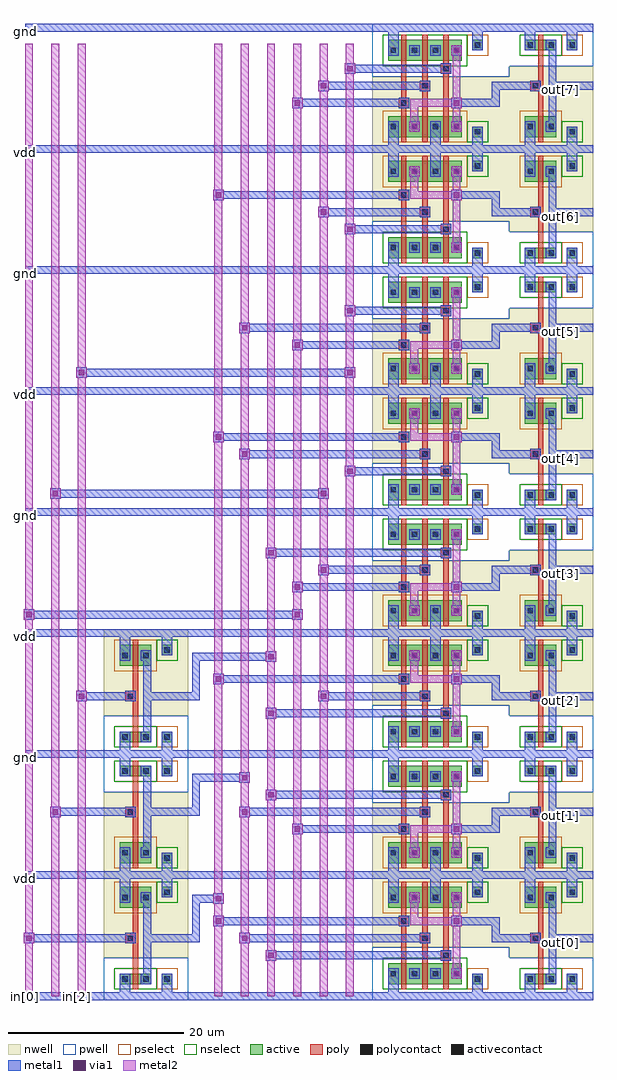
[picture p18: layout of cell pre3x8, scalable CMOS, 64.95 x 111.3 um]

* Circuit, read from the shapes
.subckt pre3x8 gnd in[0] in[1] in[2] out[0] out[1] out[2] out[3] out[4] out[5] out[6] out[7] vdd
M1 pnand3_3_11/A in[0] gnd gnd nfet w=1.2u l=0.6u
M2 pnand3_3_11/B in[1] gnd gnd nfet w=1.2u l=0.6u
M3 pnand3_3_11/C in[2] gnd gnd nfet w=1.2u l=0.6u
M4 pnand3_3_11/nmos_m1_w2_4_a_p_3/D pnand3_3_11/A gnd gnd nfet w=2.4u l=0.6u
M5 pnand3_3_12/nmos_m1_w2_4_a_p_3/D in[0] gnd gnd nfet w=2.4u l=0.6u
M6 pnand3_3_13/nmos_m1_w2_4_a_p_3/D pnand3_3_11/A gnd gnd nfet w=2.4u l=0.6u
M7 pnand3_3_14/nmos_m1_w2_4_a_p_3/D in[0] gnd gnd nfet w=2.4u l=0.6u
M8 pnand3_3_15/nmos_m1_w2_4_a_p_3/D pnand3_3_11/A gnd gnd nfet w=2.4u l=0.6u
M9 pnand3_3_16/nmos_m1_w2_4_a_p_3/D in[0] gnd gnd nfet w=2.4u l=0.6u
M10 pnand3_3_17/nmos_m1_w2_4_a_p_3/D pnand3_3_11/A gnd gnd nfet w=2.4u l=0.6u
M11 pnand3_3_18/nmos_m1_w2_4_a_p_3/D in[0] gnd gnd nfet w=2.4u l=0.6u
M12 pnand3_3_11/nmos_m1_w2_4_a_p_4/D pnand3_3_11/B pnand3_3_11/nmos_m1_w2_4_a_p_3/D gnd nfet w=2.4u l=0.6u
M13 pnand3_3_12/nmos_m1_w2_4_a_p_4/D pnand3_3_11/B pnand3_3_12/nmos_m1_w2_4_a_p_3/D gnd nfet w=2.4u l=0.6u
M14 pnand3_3_13/nmos_m1_w2_4_a_p_4/D in[1] pnand3_3_13/nmos_m1_w2_4_a_p_3/D gnd nfet w=2.4u l=0.6u
M15 pnand3_3_14/nmos_m1_w2_4_a_p_4/D in[1] pnand3_3_14/nmos_m1_w2_4_a_p_3/D gnd nfet w=2.4u l=0.6u
M16 pnand3_3_15/nmos_m1_w2_4_a_p_4/D pnand3_3_11/B pnand3_3_15/nmos_m1_w2_4_a_p_3/D gnd nfet w=2.4u l=0.6u
M17 pnand3_3_16/nmos_m1_w2_4_a_p_4/D pnand3_3_11/B pnand3_3_16/nmos_m1_w2_4_a_p_3/D gnd nfet w=2.4u l=0.6u
M18 pnand3_3_17/nmos_m1_w2_4_a_p_4/D in[1] pnand3_3_17/nmos_m1_w2_4_a_p_3/D gnd nfet w=2.4u l=0.6u
M19 pnand3_3_18/nmos_m1_w2_4_a_p_4/D in[1] pnand3_3_18/nmos_m1_w2_4_a_p_3/D gnd nfet w=2.4u l=0.6u
M20 pinv_10_3/A pnand3_3_11/C pnand3_3_11/nmos_m1_w2_4_a_p_4/D gnd nfet w=2.4u l=0.6u
M21 pinv_10_4/A pnand3_3_11/C pnand3_3_12/nmos_m1_w2_4_a_p_4/D gnd nfet w=2.4u l=0.6u
M22 pinv_10_5/A pnand3_3_11/C pnand3_3_13/nmos_m1_w2_4_a_p_4/D gnd nfet w=2.4u l=0.6u
M23 pinv_10_6/A pnand3_3_11/C pnand3_3_14/nmos_m1_w2_4_a_p_4/D gnd nfet w=2.4u l=0.6u
M24 pinv_10_62/A in[2] pnand3_3_15/nmos_m1_w2_4_a_p_4/D gnd nfet w=2.4u l=0.6u
M25 pinv_10_63/A in[2] pnand3_3_16/nmos_m1_w2_4_a_p_4/D gnd nfet w=2.4u l=0.6u
M26 pinv_10_64/A in[2] pnand3_3_17/nmos_m1_w2_4_a_p_4/D gnd nfet w=2.4u l=0.6u
M27 pinv_10_10/A in[2] pnand3_3_18/nmos_m1_w2_4_a_p_4/D gnd nfet w=2.4u l=0.6u
M28 out[0] pinv_10_3/A gnd gnd nfet w=1.2u l=0.6u
M29 out[1] pinv_10_4/A gnd gnd nfet w=1.2u l=0.6u
M30 out[2] pinv_10_5/A gnd gnd nfet w=1.2u l=0.6u
M31 out[3] pinv_10_6/A gnd gnd nfet w=1.2u l=0.6u
M32 out[4] pinv_10_62/A gnd gnd nfet w=1.2u l=0.6u
M33 out[5] pinv_10_63/A gnd gnd nfet w=1.2u l=0.6u
M34 out[6] pinv_10_64/A gnd gnd nfet w=1.2u l=0.6u
M35 out[7] pinv_10_10/A gnd gnd nfet w=1.2u l=0.6u
M36 pnand3_3_11/A in[0] vdd vdd pfet w=2.4u l=0.6u
M37 pnand3_3_11/B in[1] vdd vdd pfet w=2.4u l=0.6u
M38 pnand3_3_11/C in[2] vdd vdd pfet w=2.4u l=0.6u
M39 pinv_10_3/A pnand3_3_11/A vdd vdd pfet w=2.4u l=0.6u
M40 pinv_10_4/A in[0] vdd vdd pfet w=2.4u l=0.6u
M41 pinv_10_5/A pnand3_3_11/A vdd vdd pfet w=2.4u l=0.6u
M42 pinv_10_6/A in[0] vdd vdd pfet w=2.4u l=0.6u
M43 pinv_10_62/A pnand3_3_11/A vdd vdd pfet w=2.4u l=0.6u
M44 pinv_10_63/A in[0] vdd vdd pfet w=2.4u l=0.6u
M45 pinv_10_64/A pnand3_3_11/A vdd vdd pfet w=2.4u l=0.6u
M46 pinv_10_10/A in[0] vdd vdd pfet w=2.4u l=0.6u
M47 vdd pnand3_3_11/B pinv_10_3/A vdd pfet w=2.4u l=0.6u
M48 vdd pnand3_3_11/B pinv_10_4/A vdd pfet w=2.4u l=0.6u
M49 vdd in[1] pinv_10_5/A vdd pfet w=2.4u l=0.6u
M50 vdd in[1] pinv_10_6/A vdd pfet w=2.4u l=0.6u
M51 vdd pnand3_3_11/B pinv_10_62/A vdd pfet w=2.4u l=0.6u
M52 vdd pnand3_3_11/B pinv_10_63/A vdd pfet w=2.4u l=0.6u
M53 vdd in[1] pinv_10_64/A vdd pfet w=2.4u l=0.6u
M54 vdd in[1] pinv_10_10/A vdd pfet w=2.4u l=0.6u
M55 pinv_10_3/A pnand3_3_11/C vdd vdd pfet w=2.4u l=0.6u
M56 pinv_10_4/A pnand3_3_11/C vdd vdd pfet w=2.4u l=0.6u
M57 pinv_10_5/A pnand3_3_11/C vdd vdd pfet w=2.4u l=0.6u
M58 pinv_10_6/A pnand3_3_11/C vdd vdd pfet w=2.4u l=0.6u
M59 pinv_10_62/A in[2] vdd vdd pfet w=2.4u l=0.6u
M60 pinv_10_63/A in[2] vdd vdd pfet w=2.4u l=0.6u
M61 pinv_10_64/A in[2] vdd vdd pfet w=2.4u l=0.6u
M62 pinv_10_10/A in[2] vdd vdd pfet w=2.4u l=0.6u
M63 out[0] pinv_10_3/A vdd vdd pfet w=2.4u l=0.6u
M64 out[1] pinv_10_4/A vdd vdd pfet w=2.4u l=0.6u
M65 out[2] pinv_10_5/A vdd vdd pfet w=2.4u l=0.6u
M66 out[3] pinv_10_6/A vdd vdd pfet w=2.4u l=0.6u
M67 out[4] pinv_10_62/A vdd vdd pfet w=2.4u l=0.6u
M68 out[5] pinv_10_63/A vdd vdd pfet w=2.4u l=0.6u
M69 out[6] pinv_10_64/A vdd vdd pfet w=2.4u l=0.6u
M70 out[7] pinv_10_10/A vdd vdd pfet w=2.4u l=0.6u
.ends

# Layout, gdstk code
from math import pi, radians
import gdstk
lib = gdstk.Library(unit=1e-6, precision=1e-09)
def R(c, l, rs):  # rectangles x0, y0, x1, y1
    for r in rs: c.add(gdstk.rectangle(r[:2], r[2:], *l))
def A(c, l, x, y, w, h, nx, ny, dx, dy):  # array of equal rectangles
    R(c, l, [(x+i*dx, y+j*dy, x+i*dx+w, y+j*dy+h) for i in range(nx) for j in range(ny)])
pwell = (41, 0)
nwell = (42, 0)
active = (43, 0)
pselect = (44, 0)
nselect = (45, 0)
poly = (46, 0)
polycontact = (47, 0)
activecontact = (48, 0)
metal1 = (49, 0)
via1 = (50, 0)
metal2 = (51, 0)

active_contact_metal1_1x = lib.new_cell('active_contact_metal1_1x1_pn')
R(active_contact_metal1_1x, nwell, [(-1.8,-1.8,3,3), (-1.8,-1.8,3,3)])
R(active_contact_metal1_1x, active, [(0,0,1.2,1.2), (0,0,1.2,1.2)])
R(active_contact_metal1_1x, pselect, [(-0.6,-0.6,1.8,1.8), (-0.6,-0.6,1.8,1.8)])
R(active_contact_metal1_1x, activecontact, [(0.3,0.3,0.9,0.9), (0.3,0.3,0.9,0.9)])
R(active_contact_metal1_1x, metal1, [(0,0,1.2,1.2), (0,0,1.2,1.2)])

pmos_m1_w2_4_a_p = lib.new_cell('pmos_m1_w2_4_a_p')
R(pmos_m1_w2_4_a_p, nwell, [(-1.8,-1.8,5.4,4.2), (-1.8,-1.8,5.4,4.2)])
R(pmos_m1_w2_4_a_p, active, [(0,0,3.6,2.4), (0,0,3.6,2.4)])
R(pmos_m1_w2_4_a_p, pselect, [(-0.6,-0.6,4.2,3), (-0.6,-0.6,4.2,3)])
R(pmos_m1_w2_4_a_p, poly, [(1.5,-0.6,2.1,3), (1.5,-0.6,2.1,3), (1.5,-0.6,2.1,3), (1.5,-0.6,2.1,3)])
R(pmos_m1_w2_4_a_p, metal1, [(0,0.6,1.2,1.8), (0,0.6,1.2,1.8), (2.4,0.6,3.6,1.8), (2.4,0.6,3.6,1.8)])
pmos_m1_w2_4_a_p.add(gdstk.Reference(active_contact_metal1_1x, (0,0.6)))
pmos_m1_w2_4_a_p.add(gdstk.Reference(active_contact_metal1_1x, (2.4,0.6)))
pmos_m1_w2_4_a_p.add(gdstk.Reference(active_contact_metal1_1x, (0,0.6)))
pmos_m1_w2_4_a_p.add(gdstk.Reference(active_contact_metal1_1x, (2.4,0.6)))
pmos_m1_w2_4_a_p.add(gdstk.Label('S', (0,0.6), layer=49, texttype=0))
pmos_m1_w2_4_a_p.add(gdstk.Label('D', (2.4,0.6), layer=49, texttype=0))
pmos_m1_w2_4_a_p.add(gdstk.Label('G', (1.5,-0.6), layer=46, texttype=0))
pmos_m1_w2_4_a_p.add(gdstk.Label('S', (0,0.6), layer=49, texttype=0))
pmos_m1_w2_4_a_p.add(gdstk.Label('D', (2.4,0.6), layer=49, texttype=0))
pmos_m1_w2_4_a_p.add(gdstk.Label('G', (1.5,-0.6), layer=46, texttype=0))

c_active_contact_metal1_1x = lib.new_cell('active_contact_metal1_1x1_np')
R(c_active_contact_metal1_1x, pwell, [(-1.8,-1.8,3,3)])
R(c_active_contact_metal1_1x, active, [(0,0,1.2,1.2)])
R(c_active_contact_metal1_1x, nselect, [(-0.6,-0.6,1.8,1.8)])
R(c_active_contact_metal1_1x, activecontact, [(0.3,0.3,0.9,0.9)])
R(c_active_contact_metal1_1x, metal1, [(0,0,1.2,1.2)])

nmos_m1_w1_2_a_p = lib.new_cell('nmos_m1_w1_2_a_p')
R(nmos_m1_w1_2_a_p, pwell, [(-1.8,-1.8,5.4,3), (-1.8,-1.8,5.4,3)])
R(nmos_m1_w1_2_a_p, active, [(0,0,3.6,1.2), (0,0,3.6,1.2)])
R(nmos_m1_w1_2_a_p, nselect, [(-0.6,-0.6,4.2,1.8), (-0.6,-0.6,4.2,1.8)])
R(nmos_m1_w1_2_a_p, poly, [(1.5,-0.6,2.1,1.8), (1.5,-0.6,2.1,1.8), (1.5,-0.6,2.1,1.8), (1.5,-0.6,2.1,1.8)])
R(nmos_m1_w1_2_a_p, metal1, [(0,0,1.2,1.2), (0,0,1.2,1.2), (2.4,0,3.6,1.2), (2.4,0,3.6,1.2)])
nmos_m1_w1_2_a_p.add(gdstk.Reference(c_active_contact_metal1_1x, (0,0)))
nmos_m1_w1_2_a_p.add(gdstk.Reference(c_active_contact_metal1_1x, (2.4,0)))
nmos_m1_w1_2_a_p.add(gdstk.Reference(c_active_contact_metal1_1x, (0,0)))
nmos_m1_w1_2_a_p.add(gdstk.Reference(c_active_contact_metal1_1x, (2.4,0)))
nmos_m1_w1_2_a_p.add(gdstk.Label('S', (0,0), layer=49, texttype=0))
nmos_m1_w1_2_a_p.add(gdstk.Label('D', (2.4,0), layer=49, texttype=0))
nmos_m1_w1_2_a_p.add(gdstk.Label('G', (1.5,-0.6), layer=46, texttype=0))
nmos_m1_w1_2_a_p.add(gdstk.Label('S', (0,0), layer=49, texttype=0))
nmos_m1_w1_2_a_p.add(gdstk.Label('D', (2.4,0), layer=49, texttype=0))
nmos_m1_w1_2_a_p.add(gdstk.Label('G', (1.5,-0.6), layer=46, texttype=0))

c_active_contact_metal1_1x_ = lib.new_cell('active_contact_metal1_1x1_nn')
R(c_active_contact_metal1_1x_, nwell, [(-1.8,-1.8,3,3), (-1.8,-1.8,3,3)])
R(c_active_contact_metal1_1x_, active, [(0,0,1.2,1.2), (0,0,1.2,1.2)])
R(c_active_contact_metal1_1x_, nselect, [(-0.6,-0.6,1.8,1.8), (-0.6,-0.6,1.8,1.8)])
R(c_active_contact_metal1_1x_, activecontact, [(0.3,0.3,0.9,0.9), (0.3,0.3,0.9,0.9)])
R(c_active_contact_metal1_1x_, metal1, [(0,0,1.2,1.2), (0,0,1.2,1.2)])

c_active_contact_metal1_1x__ = lib.new_cell('active_contact_metal1_1x1_pp')
R(c_active_contact_metal1_1x__, pwell, [(-1.8,-1.8,3,3)])
R(c_active_contact_metal1_1x__, active, [(0,0,1.2,1.2)])
R(c_active_contact_metal1_1x__, pselect, [(-0.6,-0.6,1.8,1.8)])
R(c_active_contact_metal1_1x__, activecontact, [(0.3,0.3,0.9,0.9)])
R(c_active_contact_metal1_1x__, metal1, [(0,0,1.2,1.2)])

poly_contact_metal1_1x1 = lib.new_cell('poly_contact_metal1_1x1')
R(poly_contact_metal1_1x1, poly, [(0,0,1.2,1.2), (0,0,1.2,1.2)])
R(poly_contact_metal1_1x1, polycontact, [(0.3,0.3,0.9,0.9), (0.3,0.3,0.9,0.9)])
R(poly_contact_metal1_1x1, metal1, [(0,0,1.2,1.2), (0,0,1.2,1.2)])

pinv_10 = lib.new_cell('pinv_10')
R(pinv_10, pwell, [(0,-0.45,9.6,4.35)])
R(pinv_10, nwell, [(0,4.35,9.6,14.25)])
R(pinv_10, poly, [(3.3,0.75,3.9,9.45), (3,6,3.3,7.2)])
R(pinv_10, metal1, [(0,-0.45,9.6,0.45), (1.8,-0.45,3,1.35), (6.6,0,7.8,1.95), (4.5,1.35,5.4,10.65), (2.4,6,3.6,7.2), (4.95,6.15,5.85,7.05), (1.8,10.65,3,14.25), (6.6,11.85,7.8,13.8), (0,13.35,9.6,14.25)])
pinv_10.add(gdstk.Reference(pmos_m1_w2_4_a_p, (1.8,10.05)))
pinv_10.add(gdstk.Reference(nmos_m1_w1_2_a_p, (1.8,1.35)))
pinv_10.add(gdstk.Reference(c_active_contact_metal1_1x_, (6.6,11.25)))
pinv_10.add(gdstk.Reference(c_active_contact_metal1_1x__, (6.6,1.35)))
pinv_10.add(gdstk.Reference(poly_contact_metal1_1x1, (2.4,6)))
pinv_10.add(gdstk.Label('A', (2.4,6), layer=49, texttype=0))
pinv_10.add(gdstk.Label('Z', (4.95,6.15), layer=49, texttype=0))
pinv_10.add(gdstk.Label('vdd', (0,13.35), layer=49, texttype=0))
pinv_10.add(gdstk.Label('gnd', (0,-0.45), layer=49, texttype=0))

nmos_m1_w2_4_a_p = lib.new_cell('nmos_m1_w2_4_a_p')
R(nmos_m1_w2_4_a_p, pwell, [(-1.8,-1.8,5.4,4.2), (-1.8,-1.8,5.4,4.2)])
R(nmos_m1_w2_4_a_p, active, [(0,0,3.6,2.4), (0,0,3.6,2.4)])
R(nmos_m1_w2_4_a_p, nselect, [(-0.6,-0.6,4.2,3), (-0.6,-0.6,4.2,3)])
R(nmos_m1_w2_4_a_p, poly, [(1.5,-0.6,2.1,3), (1.5,-0.6,2.1,3), (1.5,-0.6,2.1,3), (1.5,-0.6,2.1,3)])
R(nmos_m1_w2_4_a_p, metal1, [(0,0.6,1.2,1.8), (0,0.6,1.2,1.8), (2.4,0.6,3.6,1.8), (2.4,0.6,3.6,1.8)])
nmos_m1_w2_4_a_p.add(gdstk.Reference(c_active_contact_metal1_1x, (0,0.6)))
nmos_m1_w2_4_a_p.add(gdstk.Reference(c_active_contact_metal1_1x, (2.4,0.6)))
nmos_m1_w2_4_a_p.add(gdstk.Reference(c_active_contact_metal1_1x, (0,0.6)))
nmos_m1_w2_4_a_p.add(gdstk.Reference(c_active_contact_metal1_1x, (2.4,0.6)))
nmos_m1_w2_4_a_p.add(gdstk.Label('S', (0,0.6), layer=49, texttype=0))
nmos_m1_w2_4_a_p.add(gdstk.Label('D', (2.4,0.6), layer=49, texttype=0))
nmos_m1_w2_4_a_p.add(gdstk.Label('G', (1.5,-0.6), layer=46, texttype=0))
nmos_m1_w2_4_a_p.add(gdstk.Label('S', (0,0.6), layer=49, texttype=0))
nmos_m1_w2_4_a_p.add(gdstk.Label('D', (2.4,0.6), layer=49, texttype=0))
nmos_m1_w2_4_a_p.add(gdstk.Label('G', (1.5,-0.6), layer=46, texttype=0))

metal1_via1_metal2_1x1 = lib.new_cell('metal1_via1_metal2_1x1')
R(metal1_via1_metal2_1x1, metal1, [(0,0,1.2,1.2), (0,0,1.2,1.2)])
R(metal1_via1_metal2_1x1, via1, [(0.3,0.3,0.9,0.9), (0.3,0.3,0.9,0.9)])
R(metal1_via1_metal2_1x1, metal2, [(0,0,1.2,1.2), (0,0,1.2,1.2)])

pnand3_3 = lib.new_cell('pnand3_3')
R(pnand3_3, pwell, [(0,-0.45,15.6,5.55)])
R(pnand3_3, nwell, [(0,5.55,15.6,14.25)])
A(pnand3_3, poly, 3.3, 0.75, 0.6, 8.7, 3, 1, 2.4, 0)
R(pnand3_3, poly, [(8.1,4.05,8.4,5.25), (5.7,6,6,7.2), (3.3,7.95,3.6,9.15)])
R(pnand3_3, metal1, [(0,-0.45,15.6,0.45), (1.8,-0.45,3,1.95), (11.4,0,12.6,1.95), (7.8,4.05,9,5.25), (5.4,6,6.6,7.2), (3,7.95,4.2,9.15), (9,7.95,10.2,9.15), (1.8,10.65,3,14.25), (6.6,10.65,7.8,14.25), (11.4,11.85,12.6,13.8), (0,13.35,15.6,14.25)])
R(pnand3_3, metal2, [(9.15,3.15,10.05,10.65), (9.15,3.15,10.05,8.55), (4.35,8.1,5.25,9), (4.8,8.1,9.6,9), (9.15,8.1,10.05,9), (4.35,8.55,5.25,10.65)])
pnand3_3.add(gdstk.Reference(pmos_m1_w2_4_a_p, (1.8,10.05)))
pnand3_3.add(gdstk.Reference(pmos_m1_w2_4_a_p, (4.2,10.05)))
pnand3_3.add(gdstk.Reference(pmos_m1_w2_4_a_p, (6.6,10.05)))
pnand3_3.add(gdstk.Reference(nmos_m1_w2_4_a_p, (1.8,1.35)))
pnand3_3.add(gdstk.Reference(nmos_m1_w2_4_a_p, (4.2,1.35)))
pnand3_3.add(gdstk.Reference(nmos_m1_w2_4_a_p, (6.6,1.35)))
pnand3_3.add(gdstk.Reference(c_active_contact_metal1_1x_, (11.4,11.25)))
pnand3_3.add(gdstk.Reference(c_active_contact_metal1_1x__, (11.4,1.35)))
pnand3_3.add(gdstk.Reference(poly_contact_metal1_1x1, (9,4.05), rotation=pi/2))
pnand3_3.add(gdstk.Reference(poly_contact_metal1_1x1, (6.6,6), rotation=pi/2))
pnand3_3.add(gdstk.Reference(poly_contact_metal1_1x1, (4.2,7.95), rotation=pi/2))
pnand3_3.add(gdstk.Reference(metal1_via1_metal2_1x1, (4.2,10.65)))
pnand3_3.add(gdstk.Reference(metal1_via1_metal2_1x1, (9,10.65)))
pnand3_3.add(gdstk.Reference(metal1_via1_metal2_1x1, (9,1.95)))
pnand3_3.add(gdstk.Reference(metal1_via1_metal2_1x1, (9,7.95)))
pnand3_3.add(gdstk.Label('A', (3,7.95), layer=49, texttype=0))
pnand3_3.add(gdstk.Label('C', (7.8,4.05), layer=49, texttype=0))
pnand3_3.add(gdstk.Label('B', (5.4,6), layer=49, texttype=0))
pnand3_3.add(gdstk.Label('vdd', (0,13.35), layer=49, texttype=0))
pnand3_3.add(gdstk.Label('gnd', (0,-0.45), layer=49, texttype=0))
pnand3_3.add(gdstk.Label('Z', (9,7.95), layer=49, texttype=0))

pre3x8 = lib.new_cell('pre3x8')
R(pre3x8, metal1, [(0,-0.45,64.8,0.45), (0,-0.45,64.8,0.45), (28.05,4.2,47.4,5.1), (28.05,4.2,47.4,5.1), (0.45,6.15,11.4,7.05), (0.45,6.15,11.4,7.05), (14.85,6.15,19.5,7.05), (14.85,6.15,19.5,7.05), (19.05,6.15,19.95,7.05), (19.05,6.15,19.95,7.05), (25.05,6.15,45,7.05), (25.05,6.15,45,7.05), (53.25,6.15,54.15,7.05), (53.25,6.15,54.15,7.05), (53.7,6.15,57.6,7.05), (53.7,6.15,57.6,7.05), (61.05,6.15,64.8,7.05), (61.05,6.15,64.8,7.05), (19.05,6.6,19.95,11.1), (19.05,6.6,19.95,11.1), (53.25,6.6,54.15,8.55), (53.25,6.6,54.15,8.55), (22.05,8.1,42.6,9), (22.05,8.1,42.6,9), (49.8,8.1,53.7,9), (49.8,8.1,53.7,9), (53.25,8.1,54.15,9), (53.25,8.1,54.15,9), (19.05,10.65,19.95,11.55), (19.05,10.65,19.95,11.55), (19.5,10.65,22.05,11.55), (19.5,10.65,22.05,11.55), (0,13.35,64.8,14.25), (0,13.35,64.8,14.25), (31.05,18.6,42.6,19.5), (31.05,18.6,42.6,19.5), (49.8,18.6,53.7,19.5), (49.8,18.6,53.7,19.5), (53.25,18.6,54.15,19.5), (53.25,18.6,54.15,19.5), (53.25,19.05,54.15,21), (53.25,19.05,54.15,21), (3.45,20.55,11.4,21.45), (3.45,20.55,11.4,21.45), (14.85,20.55,19.5,21.45), (14.85,20.55,19.5,21.45), (19.05,20.55,19.95,21.45), (19.05,20.55,19.95,21.45), (25.05,20.55,45,21.45), (25.05,20.55,45,21.45), (53.25,20.55,54.15,21.45), (53.25,20.55,54.15,21.45), (53.7,20.55,57.6,21.45), (53.7,20.55,57.6,21.45), (61.05,20.55,64.8,21.45), (61.05,20.55,64.8,21.45), (19.05,21,19.95,24.9), (19.05,21,19.95,24.9), (28.05,22.5,47.4,23.4), (28.05,22.5,47.4,23.4), (19.05,24.45,19.95,25.35), (19.05,24.45,19.95,25.35), (19.5,24.45,25.05,25.35), (19.5,24.45,25.05,25.35), (0,27.15,64.8,28.05), (0,27.15,64.8,28.05), (28.05,31.8,47.4,32.7), (28.05,31.8,47.4,32.7), (6.45,33.75,11.4,34.65), (6.45,33.75,11.4,34.65), (14.85,33.75,19.5,34.65), (14.85,33.75,19.5,34.65), (19.05,33.75,19.95,34.65), (19.05,33.75,19.95,34.65), (34.05,33.75,45,34.65), (34.05,33.75,45,34.65), (53.25,33.75,54.15,34.65), (53.25,33.75,54.15,34.65), (53.7,33.75,57.6,34.65), (53.7,33.75,57.6,34.65), (61.05,33.75,64.8,34.65), (61.05,33.75,64.8,34.65), (19.05,34.2,19.95,38.7), (19.05,34.2,19.95,38.7), (53.25,34.2,54.15,36.15), (53.25,34.2,54.15,36.15), (22.05,35.7,42.6,36.6), (22.05,35.7,42.6,36.6), (49.8,35.7,53.7,36.6), (49.8,35.7,53.7,36.6), (53.25,35.7,54.15,36.6), (53.25,35.7,54.15,36.6), (19.05,38.25,19.95,39.15), (19.05,38.25,19.95,39.15), (19.5,38.25,28.05,39.15), (19.5,38.25,28.05,39.15), (0,40.95,64.8,41.85), (0,40.95,64.8,41.85), (0.45,43.05,31.05,43.95), (0.45,43.05,31.05,43.95), (31.05,46.2,42.6,47.1), (31.05,46.2,42.6,47.1), (49.8,46.2,53.7,47.1), (49.8,46.2,53.7,47.1), (53.25,46.2,54.15,47.1), (53.25,46.2,54.15,47.1), (53.25,46.65,54.15,48.6), (53.25,46.65,54.15,48.6), (34.05,48.15,45,49.05), (34.05,48.15,45,49.05), (53.25,48.15,54.15,49.05), (53.25,48.15,54.15,49.05), (53.7,48.15,57.6,49.05), (53.7,48.15,57.6,49.05), (61.05,48.15,64.8,49.05), (61.05,48.15,64.8,49.05), (28.05,50.1,47.4,51), (28.05,50.1,47.4,51), (0,54.75,64.8,55.65), (0,54.75,64.8,55.65), (3.45,56.85,34.05,57.75), (3.45,56.85,34.05,57.75), (37.05,59.4,47.4,60.3), (37.05,59.4,47.4,60.3), (25.05,61.35,45,62.25), (25.05,61.35,45,62.25), (53.25,61.35,54.15,62.25), (53.25,61.35,54.15,62.25), (53.7,61.35,57.6,62.25), (53.7,61.35,57.6,62.25), (61.05,61.35,64.8,62.25), (61.05,61.35,64.8,62.25), (53.25,61.8,54.15,63.75), (53.25,61.8,54.15,63.75), (22.05,63.3,42.6,64.2), (22.05,63.3,42.6,64.2), (49.8,63.3,53.7,64.2), (49.8,63.3,53.7,64.2), (53.25,63.3,54.15,64.2), (53.25,63.3,54.15,64.2), (0,68.55,64.8,69.45), (0,68.55,64.8,69.45), (6.45,70.65,37.05,71.55), (6.45,70.65,37.05,71.55), (31.05,73.8,42.6,74.7), (31.05,73.8,42.6,74.7), (49.8,73.8,53.7,74.7), (49.8,73.8,53.7,74.7), (53.25,73.8,54.15,74.7), (53.25,73.8,54.15,74.7), (53.25,74.25,54.15,76.2), (53.25,74.25,54.15,76.2), (25.05,75.75,45,76.65), (25.05,75.75,45,76.65), (53.25,75.75,54.15,76.65), (53.25,75.75,54.15,76.65), (53.7,75.75,57.6,76.65), (53.7,75.75,57.6,76.65), (61.05,75.75,64.8,76.65), (61.05,75.75,64.8,76.65), (37.05,77.7,47.4,78.6), (37.05,77.7,47.4,78.6), (0,82.35,64.8,83.25), (0,82.35,64.8,83.25), (37.05,87,47.4,87.9), (37.05,87,47.4,87.9), (34.05,88.95,45,89.85), (34.05,88.95,45,89.85), (53.25,88.95,54.15,89.85), (53.25,88.95,54.15,89.85), (53.7,88.95,57.6,89.85), (53.7,88.95,57.6,89.85), (61.05,88.95,64.8,89.85), (61.05,88.95,64.8,89.85), (53.25,89.4,54.15,91.35), (53.25,89.4,54.15,91.35), (22.05,90.9,42.6,91.8), (22.05,90.9,42.6,91.8), (49.8,90.9,53.7,91.8), (49.8,90.9,53.7,91.8), (53.25,90.9,54.15,91.8), (53.25,90.9,54.15,91.8), (0,96.15,64.8,97.05), (0,96.15,64.8,97.05), (31.05,101.4,42.6,102.3), (31.05,101.4,42.6,102.3), (49.8,101.4,53.7,102.3), (49.8,101.4,53.7,102.3), (53.25,101.4,54.15,102.3), (53.25,101.4,54.15,102.3), (53.25,101.85,54.15,103.8), (53.25,101.85,54.15,103.8), (34.05,103.35,45,104.25), (34.05,103.35,45,104.25), (53.25,103.35,54.15,104.25), (53.25,103.35,54.15,104.25), (53.7,103.35,57.6,104.25), (53.7,103.35,57.6,104.25), (61.05,103.35,64.8,104.25), (61.05,103.35,64.8,104.25), (37.05,105.3,47.4,106.2), (37.05,105.3,47.4,106.2), (0,109.95,64.8,110.85), (0,109.95,64.8,110.85)])
R(pre3x8, metal2, [(0,0,0.9,108.6), (0,0,0.9,108.6), (3,0,3.9,108.6), (3,0,3.9,108.6), (6,0,6.9,108.6), (6,0,6.9,108.6), (21.6,0,22.5,108.6), (21.6,0,22.5,108.6), (24.6,0,25.5,108.6), (24.6,0,25.5,108.6), (27.6,0,28.5,108.6), (27.6,0,28.5,108.6), (30.6,0,31.5,108.6), (30.6,0,31.5,108.6), (33.6,0,34.5,108.6), (33.6,0,34.5,108.6), (36.6,0,37.5,108.6), (36.6,0,37.5,108.6)])
pre3x8.add(gdstk.Reference(pinv_10, (9,0)))
pre3x8.add(gdstk.Reference(pinv_10, (9,27.6), x_reflection=True))
pre3x8.add(gdstk.Reference(pinv_10, (9,27.6)))
pre3x8.add(gdstk.Reference(pinv_10, (55.2,0)))
pre3x8.add(gdstk.Reference(pinv_10, (55.2,27.6), x_reflection=True))
pre3x8.add(gdstk.Reference(pinv_10, (55.2,27.6)))
pre3x8.add(gdstk.Reference(pinv_10, (55.2,55.2), x_reflection=True))
pre3x8.add(gdstk.Reference(pinv_10, (55.2,55.2)))
pre3x8.add(gdstk.Reference(pinv_10, (55.2,82.8), x_reflection=True))
pre3x8.add(gdstk.Reference(pinv_10, (55.2,82.8)))
pre3x8.add(gdstk.Reference(pinv_10, (55.2,110.4), x_reflection=True))
pre3x8.add(gdstk.Reference(pnand3_3, (39.6,0)))
pre3x8.add(gdstk.Reference(pnand3_3, (39.6,27.6), x_reflection=True))
pre3x8.add(gdstk.Reference(pnand3_3, (39.6,27.6)))
pre3x8.add(gdstk.Reference(pnand3_3, (39.6,55.2), x_reflection=True))
pre3x8.add(gdstk.Reference(pnand3_3, (39.6,55.2)))
pre3x8.add(gdstk.Reference(pnand3_3, (39.6,82.8), x_reflection=True))
pre3x8.add(gdstk.Reference(pnand3_3, (39.6,82.8)))
pre3x8.add(gdstk.Reference(pnand3_3, (39.6,110.4), x_reflection=True))
pre3x8.add(gdstk.Reference(metal1_via1_metal2_1x1, (22.65,10.5), rotation=pi/2))
pre3x8.add(gdstk.Reference(metal1_via1_metal2_1x1, (1.05,6), rotation=pi/2))
pre3x8.add(gdstk.Reference(metal1_via1_metal2_1x1, (25.65,24.3), rotation=pi/2))
pre3x8.add(gdstk.Reference(metal1_via1_metal2_1x1, (4.05,20.4), rotation=pi/2))
pre3x8.add(gdstk.Reference(metal1_via1_metal2_1x1, (28.65,38.1), rotation=pi/2))
pre3x8.add(gdstk.Reference(metal1_via1_metal2_1x1, (7.05,33.6), rotation=pi/2))
pre3x8.add(gdstk.Reference(metal1_via1_metal2_1x1, (1.05,42.9), rotation=pi/2))
pre3x8.add(gdstk.Reference(metal1_via1_metal2_1x1, (31.65,42.9), rotation=pi/2))
pre3x8.add(gdstk.Reference(metal1_via1_metal2_1x1, (4.05,56.7), rotation=pi/2))
pre3x8.add(gdstk.Reference(metal1_via1_metal2_1x1, (34.65,56.7), rotation=pi/2))
pre3x8.add(gdstk.Reference(metal1_via1_metal2_1x1, (7.05,70.5), rotation=pi/2))
pre3x8.add(gdstk.Reference(metal1_via1_metal2_1x1, (37.65,70.5), rotation=pi/2))
pre3x8.add(gdstk.Reference(metal1_via1_metal2_1x1, (22.65,7.95), rotation=pi/2))
pre3x8.add(gdstk.Reference(metal1_via1_metal2_1x1, (25.65,6), rotation=pi/2))
pre3x8.add(gdstk.Reference(metal1_via1_metal2_1x1, (28.65,4.05), rotation=pi/2))
pre3x8.add(gdstk.Reference(metal1_via1_metal2_1x1, (31.65,18.45), rotation=pi/2))
pre3x8.add(gdstk.Reference(metal1_via1_metal2_1x1, (25.65,20.4), rotation=pi/2))
pre3x8.add(gdstk.Reference(metal1_via1_metal2_1x1, (28.65,22.35), rotation=pi/2))
pre3x8.add(gdstk.Reference(metal1_via1_metal2_1x1, (22.65,35.55), rotation=pi/2))
pre3x8.add(gdstk.Reference(metal1_via1_metal2_1x1, (34.65,33.6), rotation=pi/2))
pre3x8.add(gdstk.Reference(metal1_via1_metal2_1x1, (28.65,31.65), rotation=pi/2))
pre3x8.add(gdstk.Reference(metal1_via1_metal2_1x1, (31.65,46.05), rotation=pi/2))
pre3x8.add(gdstk.Reference(metal1_via1_metal2_1x1, (34.65,48), rotation=pi/2))
pre3x8.add(gdstk.Reference(metal1_via1_metal2_1x1, (28.65,49.95), rotation=pi/2))
pre3x8.add(gdstk.Reference(metal1_via1_metal2_1x1, (22.65,63.15), rotation=pi/2))
pre3x8.add(gdstk.Reference(metal1_via1_metal2_1x1, (25.65,61.2), rotation=pi/2))
pre3x8.add(gdstk.Reference(metal1_via1_metal2_1x1, (37.65,59.25), rotation=pi/2))
pre3x8.add(gdstk.Reference(metal1_via1_metal2_1x1, (31.65,73.65), rotation=pi/2))
pre3x8.add(gdstk.Reference(metal1_via1_metal2_1x1, (25.65,75.6), rotation=pi/2))
pre3x8.add(gdstk.Reference(metal1_via1_metal2_1x1, (37.65,77.55), rotation=pi/2))
pre3x8.add(gdstk.Reference(metal1_via1_metal2_1x1, (22.65,90.75), rotation=pi/2))
pre3x8.add(gdstk.Reference(metal1_via1_metal2_1x1, (34.65,88.8), rotation=pi/2))
pre3x8.add(gdstk.Reference(metal1_via1_metal2_1x1, (37.65,86.85), rotation=pi/2))
pre3x8.add(gdstk.Reference(metal1_via1_metal2_1x1, (31.65,101.25), rotation=pi/2))
pre3x8.add(gdstk.Reference(metal1_via1_metal2_1x1, (34.65,103.2), rotation=pi/2))
pre3x8.add(gdstk.Reference(metal1_via1_metal2_1x1, (37.65,105.15), rotation=pi/2))
pre3x8.add(gdstk.Reference(pinv_10, (9,0)))
pre3x8.add(gdstk.Reference(pinv_10, (9,27.6), x_reflection=True))
pre3x8.add(gdstk.Reference(pinv_10, (9,27.6)))
pre3x8.add(gdstk.Reference(pinv_10, (55.2,0)))
pre3x8.add(gdstk.Reference(pinv_10, (55.2,27.6), x_reflection=True))
pre3x8.add(gdstk.Reference(pinv_10, (55.2,27.6)))
pre3x8.add(gdstk.Reference(pinv_10, (55.2,55.2), x_reflection=True))
pre3x8.add(gdstk.Reference(pinv_10, (55.2,55.2)))
pre3x8.add(gdstk.Reference(pinv_10, (55.2,82.8), x_reflection=True))
pre3x8.add(gdstk.Reference(pinv_10, (55.2,82.8)))
pre3x8.add(gdstk.Reference(pinv_10, (55.2,110.4), x_reflection=True))
pre3x8.add(gdstk.Reference(pnand3_3, (39.6,0)))
pre3x8.add(gdstk.Reference(pnand3_3, (39.6,27.6), x_reflection=True))
pre3x8.add(gdstk.Reference(pnand3_3, (39.6,27.6)))
pre3x8.add(gdstk.Reference(pnand3_3, (39.6,55.2), x_reflection=True))
pre3x8.add(gdstk.Reference(pnand3_3, (39.6,55.2)))
pre3x8.add(gdstk.Reference(pnand3_3, (39.6,82.8), x_reflection=True))
pre3x8.add(gdstk.Reference(pnand3_3, (39.6,82.8)))
pre3x8.add(gdstk.Reference(pnand3_3, (39.6,110.4), x_reflection=True))
pre3x8.add(gdstk.Reference(metal1_via1_metal2_1x1, (22.65,10.5), rotation=pi/2))
pre3x8.add(gdstk.Reference(metal1_via1_metal2_1x1, (1.05,6), rotation=pi/2))
pre3x8.add(gdstk.Reference(metal1_via1_metal2_1x1, (25.65,24.3), rotation=pi/2))
pre3x8.add(gdstk.Reference(metal1_via1_metal2_1x1, (4.05,20.4), rotation=pi/2))
pre3x8.add(gdstk.Reference(metal1_via1_metal2_1x1, (28.65,38.1), rotation=pi/2))
pre3x8.add(gdstk.Reference(metal1_via1_metal2_1x1, (7.05,33.6), rotation=pi/2))
pre3x8.add(gdstk.Reference(metal1_via1_metal2_1x1, (1.05,42.9), rotation=pi/2))
pre3x8.add(gdstk.Reference(metal1_via1_metal2_1x1, (31.65,42.9), rotation=pi/2))
pre3x8.add(gdstk.Reference(metal1_via1_metal2_1x1, (4.05,56.7), rotation=pi/2))
pre3x8.add(gdstk.Reference(metal1_via1_metal2_1x1, (34.65,56.7), rotation=pi/2))
pre3x8.add(gdstk.Reference(metal1_via1_metal2_1x1, (7.05,70.5), rotation=pi/2))
pre3x8.add(gdstk.Reference(metal1_via1_metal2_1x1, (37.65,70.5), rotation=pi/2))
pre3x8.add(gdstk.Reference(metal1_via1_metal2_1x1, (22.65,7.95), rotation=pi/2))
pre3x8.add(gdstk.Reference(metal1_via1_metal2_1x1, (25.65,6), rotation=pi/2))
pre3x8.add(gdstk.Reference(metal1_via1_metal2_1x1, (28.65,4.05), rotation=pi/2))
pre3x8.add(gdstk.Reference(metal1_via1_metal2_1x1, (31.65,18.45), rotation=pi/2))
pre3x8.add(gdstk.Reference(metal1_via1_metal2_1x1, (25.65,20.4), rotation=pi/2))
pre3x8.add(gdstk.Reference(metal1_via1_metal2_1x1, (28.65,22.35), rotation=pi/2))
pre3x8.add(gdstk.Reference(metal1_via1_metal2_1x1, (22.65,35.55), rotation=pi/2))
pre3x8.add(gdstk.Reference(metal1_via1_metal2_1x1, (34.65,33.6), rotation=pi/2))
pre3x8.add(gdstk.Reference(metal1_via1_metal2_1x1, (28.65,31.65), rotation=pi/2))
pre3x8.add(gdstk.Reference(metal1_via1_metal2_1x1, (31.65,46.05), rotation=pi/2))
pre3x8.add(gdstk.Reference(metal1_via1_metal2_1x1, (34.65,48), rotation=pi/2))
pre3x8.add(gdstk.Reference(metal1_via1_metal2_1x1, (28.65,49.95), rotation=pi/2))
pre3x8.add(gdstk.Reference(metal1_via1_metal2_1x1, (22.65,63.15), rotation=pi/2))
pre3x8.add(gdstk.Reference(metal1_via1_metal2_1x1, (25.65,61.2), rotation=pi/2))
pre3x8.add(gdstk.Reference(metal1_via1_metal2_1x1, (37.65,59.25), rotation=pi/2))
pre3x8.add(gdstk.Reference(metal1_via1_metal2_1x1, (31.65,73.65), rotation=pi/2))
pre3x8.add(gdstk.Reference(metal1_via1_metal2_1x1, (25.65,75.6), rotation=pi/2))
pre3x8.add(gdstk.Reference(metal1_via1_metal2_1x1, (37.65,77.55), rotation=pi/2))
pre3x8.add(gdstk.Reference(metal1_via1_metal2_1x1, (22.65,90.75), rotation=pi/2))
pre3x8.add(gdstk.Reference(metal1_via1_metal2_1x1, (34.65,88.8), rotation=pi/2))
pre3x8.add(gdstk.Reference(metal1_via1_metal2_1x1, (37.65,86.85), rotation=pi/2))
pre3x8.add(gdstk.Reference(metal1_via1_metal2_1x1, (31.65,101.25), rotation=pi/2))
pre3x8.add(gdstk.Reference(metal1_via1_metal2_1x1, (34.65,103.2), rotation=pi/2))
pre3x8.add(gdstk.Reference(metal1_via1_metal2_1x1, (37.65,105.15), rotation=pi/2))
pre3x8.add(gdstk.Label('out[3]', (61.05,48.15), layer=49, texttype=0))
pre3x8.add(gdstk.Label('in[2]', (6,0), layer=51, texttype=0))
pre3x8.add(gdstk.Label('out[2]', (61.05,33.75), layer=49, texttype=0))
pre3x8.add(gdstk.Label('in[0]', (0,0), layer=51, texttype=0))
pre3x8.add(gdstk.Label('out[6]', (61.05,88.95), layer=49, texttype=0))
pre3x8.add(gdstk.Label('out[0]', (61.05,6.15), layer=49, texttype=0))
pre3x8.add(gdstk.Label('out[1]', (61.05,20.55), layer=49, texttype=0))
pre3x8.add(gdstk.Label('out[4]', (61.05,61.35), layer=49, texttype=0))
pre3x8.add(gdstk.Label('out[5]', (61.05,75.75), layer=49, texttype=0))
pre3x8.add(gdstk.Label('out[7]', (61.05,103.35), layer=49, texttype=0))
pre3x8.add(gdstk.Label('gnd', (0,-0.45), layer=49, texttype=0))
pre3x8.add(gdstk.Label('gnd', (0,27.15), layer=49, texttype=0))
pre3x8.add(gdstk.Label('gnd', (0,54.75), layer=49, texttype=0))
pre3x8.add(gdstk.Label('gnd', (0,82.35), layer=49, texttype=0))
pre3x8.add(gdstk.Label('gnd', (0,109.95), layer=49, texttype=0))
pre3x8.add(gdstk.Label('in[1]', (3,0), layer=51, texttype=0))
pre3x8.add(gdstk.Label('vdd', (0,13.35), layer=49, texttype=0))
pre3x8.add(gdstk.Label('vdd', (0,40.95), layer=49, texttype=0))
pre3x8.add(gdstk.Label('vdd', (0,68.55), layer=49, texttype=0))
pre3x8.add(gdstk.Label('vdd', (0,96.15), layer=49, texttype=0))
pre3x8.add(gdstk.Label('out[3]', (61.05,48.15), layer=49, texttype=0))
pre3x8.add(gdstk.Label('in[2]', (6,0), layer=51, texttype=0))
pre3x8.add(gdstk.Label('out[2]', (61.05,33.75), layer=49, texttype=0))
pre3x8.add(gdstk.Label('in[0]', (0,0), layer=51, texttype=0))
pre3x8.add(gdstk.Label('out[6]', (61.05,88.95), layer=49, texttype=0))
pre3x8.add(gdstk.Label('out[0]', (61.05,6.15), layer=49, texttype=0))
pre3x8.add(gdstk.Label('out[1]', (61.05,20.55), layer=49, texttype=0))
pre3x8.add(gdstk.Label('out[4]', (61.05,61.35), layer=49, texttype=0))
pre3x8.add(gdstk.Label('out[5]', (61.05,75.75), layer=49, texttype=0))
pre3x8.add(gdstk.Label('out[7]', (61.05,103.35), layer=49, texttype=0))
pre3x8.add(gdstk.Label('gnd', (0,-0.45), layer=49, texttype=0))
pre3x8.add(gdstk.Label('gnd', (0,27.15), layer=49, texttype=0))
pre3x8.add(gdstk.Label('gnd', (0,54.75), layer=49, texttype=0))
pre3x8.add(gdstk.Label('gnd', (0,82.35), layer=49, texttype=0))
pre3x8.add(gdstk.Label('gnd', (0,109.95), layer=49, texttype=0))
pre3x8.add(gdstk.Label('in[1]', (3,0), layer=51, texttype=0))
pre3x8.add(gdstk.Label('vdd', (0,13.35), layer=49, texttype=0))
pre3x8.add(gdstk.Label('vdd', (0,40.95), layer=49, texttype=0))
pre3x8.add(gdstk.Label('vdd', (0,68.55), layer=49, texttype=0))
pre3x8.add(gdstk.Label('vdd', (0,96.15), layer=49, texttype=0))

lib.write_gds('pre3x8.gds')
